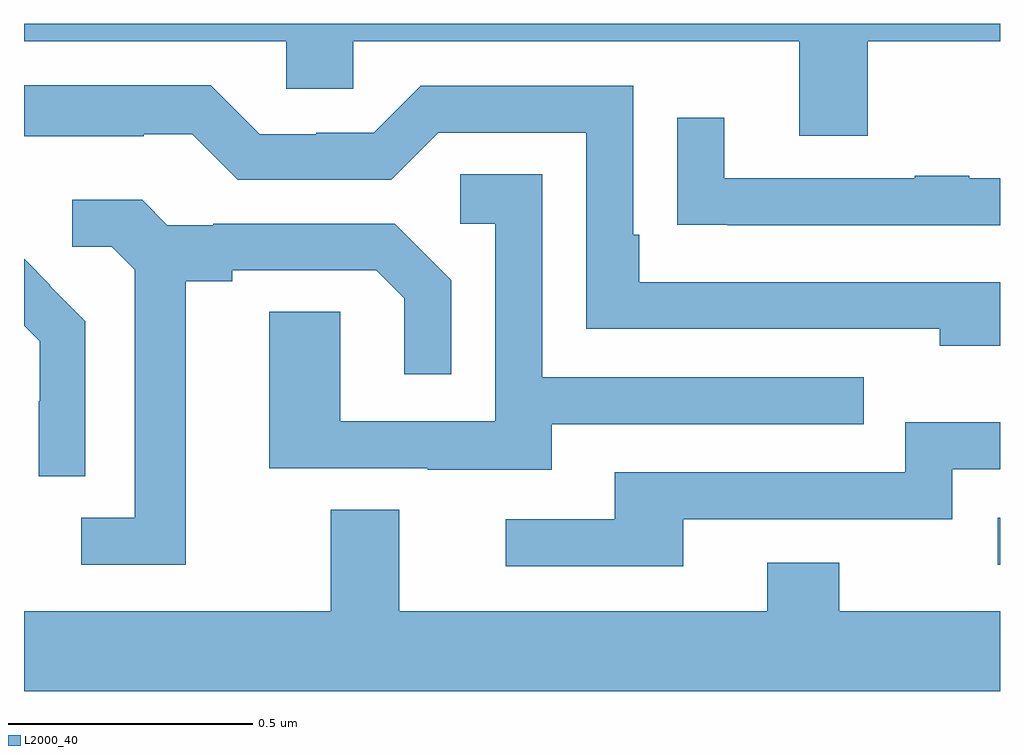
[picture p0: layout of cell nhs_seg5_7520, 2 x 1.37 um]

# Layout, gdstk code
import gdstk
lib = gdstk.Library(unit=1e-6, precision=1e-09)
def R(c, l, rs):  # rectangles x0, y0, x1, y1
    for r in rs: c.add(gdstk.rectangle(r[:2], r[2:], *l))
def P(c, l, *ps):  # polygons
    for p in ps: c.add(gdstk.Polygon(p, *l))
L2000_40 = (2000, 40)

nhs_seg5_7520 = lib.new_cell('nhs_seg5_7520')
R(nhs_seg5_7520, L2000_40, [(211.995,851.691,212,851.787)])
P(nhs_seg5_7520, L2000_40, [(210,852.764),(210.537,852.764),(210.537,852.666),(210.675,852.666),(210.675,852.764),(211.589,852.764),(211.589,852.57),(211.729,852.57),(211.729,852.764),(212,852.764),(212,852.799),(210,852.799)],
  [(212,852.27),(211.261,852.27),(211.261,852.367),(211.248,852.367),(211.248,852.672),(210.813,852.672),(210.717,852.576),(210.599,852.576),(210.599,852.573),(210.483,852.573),(210.383,852.673),(210,852.673),(210,852.569),(210.245,852.569),(210.245,852.573),(210.345,852.573),(210.438,852.48),(210.753,852.48),(210.849,852.576),(211.152,852.576),(211.152,852.174),(211.877,852.174),(211.877,852.14),(212,852.14)],
  [(212,852.483),(211.937,852.483),(211.937,852.488),(211.825,852.488),(211.825,852.483),(211.435,852.483),(211.435,852.607),(211.339,852.607),(211.339,852.388),(211.441,852.388),(211.441,852.387),(212,852.387)],
  [(211.081,851.979),(211.721,851.979),(211.721,852.075),(211.062,852.075),(211.062,852.491),(210.894,852.491),(210.894,852.39),(210.966,852.39),(210.966,851.985),(210.648,851.985),(210.648,852.209),(210.503,852.209),(210.503,851.889),(210.827,851.889),(210.827,851.885),(211.081,851.885)],
  [(210.331,852.272),(210.427,852.272),(210.427,852.294),(210.722,852.294),(210.779,852.237),(210.779,852.081),(210.876,852.081),(210.876,852.274),(210.76,852.39),(210.388,852.39),(210.388,852.387),(210.294,852.387),(210.242,852.439),(210.099,852.439),(210.099,852.342),(210.18,852.342),(210.227,852.295),(210.227,851.787),(210.117,851.787),(210.117,851.691),(210.331,851.691)],
  [(210.126,852.19),(210.053,852.263),(210.054,852.264),(210,852.318),(210,852.181),(210.032,852.149),(210.032,852.026),(210.03,852.026),(210.03,851.872),(210.126,851.872)],
  [(211.351,851.784),(211.902,851.784),(211.902,851.886),(212,851.886),(212,851.983),(211.806,851.983),(211.806,851.88),(211.211,851.88),(211.211,851.784),(210.987,851.784),(210.987,851.688),(211.351,851.688)],
  [(212,851.596),(211.671,851.596),(211.671,851.695),(211.523,851.695),(211.523,851.596),(210.769,851.596),(210.769,851.804),(210.629,851.804),(210.629,851.596),(210,851.596),(210,851.432),(212,851.432)])

lib.write_gds('nhs_seg5_7520.gds')
